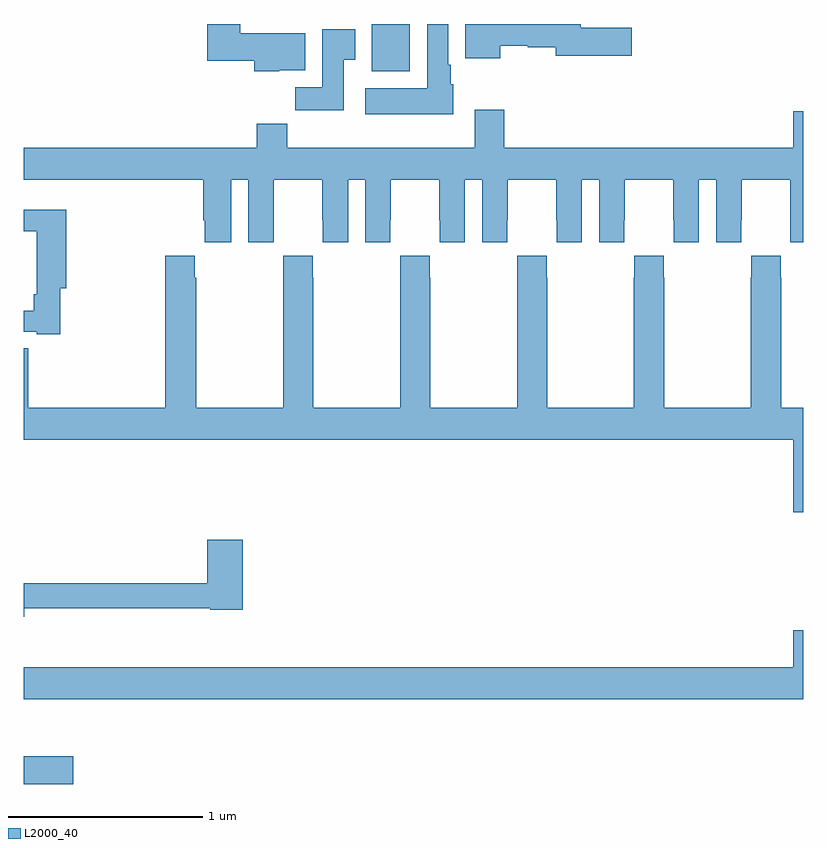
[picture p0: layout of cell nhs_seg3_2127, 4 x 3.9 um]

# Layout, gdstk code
import gdstk
lib = gdstk.Library(unit=1e-6, precision=1e-09)
def R(c, l, rs):  # rectangles x0, y0, x1, y1
    for r in rs: c.add(gdstk.rectangle(r[:2], r[2:], *l))
def P(c, l, *ps):  # polygons
    for p in ps: c.add(gdstk.Polygon(p, *l))
L2000_40 = (2000, 40)

nhs_seg3_2127 = lib.new_cell('nhs_seg3_2127')
R(nhs_seg3_2127, L2000_40, [(221,680.501,221.254,680.643), (222.785,684.158,222.982,684.4)])
P(nhs_seg3_2127, L2000_40, [(222.312,684.164),(222.445,684.164),(222.445,684.352),(222.112,684.352),(222.112,684.4),(221.942,684.4),(221.942,684.212),(222.182,684.212),(222.182,684.158),(222.312,684.158)],
  [(223.444,684.288),(223.587,684.288),(223.587,684.28),(223.73,684.28),(223.73,684.238),(224.119,684.238),(224.119,684.38),(223.858,684.38),(223.858,684.4),(223.265,684.4),(223.265,684.224),(223.444,684.224)],
  [(223.204,684.09),(223.192,684.09),(223.192,684.19),(223.177,684.19),(223.177,684.4),(223.07,684.4),(223.07,684.07),(222.753,684.07),(222.753,683.936),(223.204,683.936)],
  [(222.643,684.217),(222.7,684.217),(222.7,684.373),(222.533,684.373),(222.533,684.076),(222.394,684.076),(222.394,683.958),(222.643,683.958)],
  [(223.466,683.959),(223.313,683.959),(223.313,683.764),(222.353,683.764),(222.353,683.888),(222.197,683.888),(222.197,683.764),(221,683.764),(221,683.6),(221.921,683.6),(221.921,683.392),(221.93,683.392),(221.93,683.28),(222.064,683.28),(222.064,683.6),(222.152,683.6),(222.152,683.28),(222.282,683.28),(222.282,683.392),(222.283,683.392),(222.283,683.6),(222.533,683.6),(222.533,683.392),(222.534,683.392),(222.534,683.28),(222.664,683.28),(222.664,683.6),(222.752,683.6),(222.752,683.28),(222.882,683.28),(222.882,683.392),(222.883,683.392),(222.883,683.6),(223.133,683.6),(223.133,683.392),(223.134,683.392),(223.134,683.28),(223.264,683.28),(223.264,683.6),(223.352,683.6),(223.352,683.28),(223.482,683.28),(223.482,683.392),(223.483,683.392),(223.483,683.6),(223.733,683.6),(223.733,683.392),(223.734,683.392),(223.734,683.28),(223.864,683.28),(223.864,683.6),(223.952,683.6),(223.952,683.28),(224.082,683.28),(224.082,683.392),(224.083,683.392),(224.083,683.6),(224.333,683.6),(224.333,683.392),(224.334,683.392),(224.334,683.28),(224.464,683.28),(224.464,683.6),(224.552,683.6),(224.552,683.28),(224.682,683.28),(224.682,683.392),(224.683,683.392),(224.683,683.6),(224.933,683.6),(224.933,683.392),(224.934,683.392),(224.934,683.28),(225,683.28),(225,683.953),(224.948,683.953),(224.948,683.764),(223.466,683.764)],
  [(221.189,683.045),(221.219,683.045),(221.219,683.446),(221,683.446),(221,683.337),(221.068,683.337),(221.068,683.014),(221.053,683.014),(221.053,682.93),(221,682.93),(221,682.821),(221.066,682.821),(221.066,682.809),(221.189,682.809)],
  [(222.933,683.212),(222.933,683.099),(222.931,683.099),(222.931,682.432),(222.486,682.432),(222.486,683.099),(222.483,683.099),(222.483,683.212),(222.333,683.212),(222.333,683.099),(222.331,683.099),(222.331,682.432),(221.886,682.432),(221.886,683.099),(221.879,683.099),(221.879,683.212),(221.726,683.212),(221.726,682.432),(221.024,682.432),(221.024,682.736),(221,682.736),(221,682.268),(224.948,682.268),(224.948,681.894),(225,681.894),(225,682.432),(224.886,682.432),(224.886,683.099),(224.883,683.099),(224.883,683.212),(224.733,683.212),(224.733,683.099),(224.731,683.099),(224.731,682.432),(224.286,682.432),(224.286,683.099),(224.283,683.099),(224.283,683.212),(224.133,683.212),(224.133,683.099),(224.131,683.099),(224.131,682.432),(223.686,682.432),(223.686,683.099),(223.683,683.099),(223.683,683.212),(223.533,683.212),(223.533,683.099),(223.531,683.099),(223.531,682.432),(223.086,682.432),(223.086,683.099),(223.083,683.099),(223.083,683.212)],
  [(221.002,681.402),(221.958,681.402),(221.958,681.394),(222.125,681.394),(222.125,681.754),(221.942,681.754),(221.942,681.53),(221,681.53),(221,681.359),(221.002,681.359)],
  [(225,681.289),(224.948,681.289),(224.948,681.1),(221,681.1),(221,680.936),(225,680.936)])

lib.write_gds('nhs_seg3_2127.gds')
